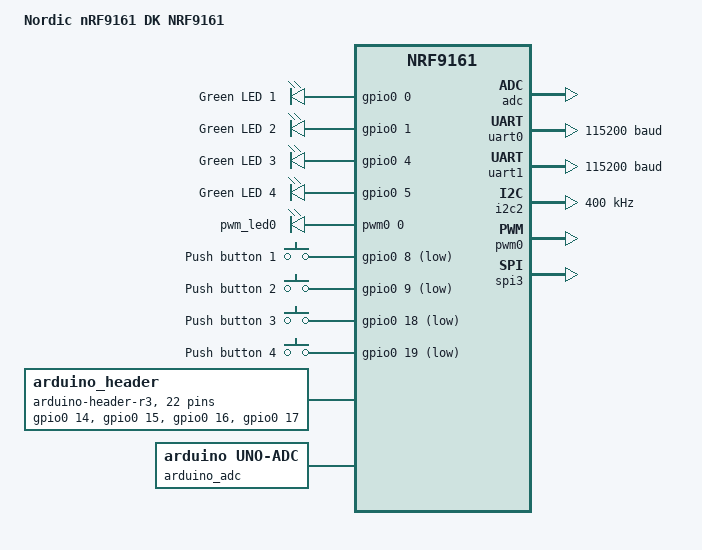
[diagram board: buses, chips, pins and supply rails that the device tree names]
/*
 * Copyright (c) 2023 Nordic Semiconductor ASA
 *
 * SPDX-License-Identifier: Apache-2.0
 */
#include "nrf9161dk_nrf9161_common-pinctrl.dtsi"
#include <zephyr/dt-bindings/input/input-event-codes.h>

/ {
	model = "Nordic nRF9161 DK NRF9161";
	compatible = "nordic,nrf9161-dk-nrf9161";

	chosen {
		zephyr,console = &uart0;
		zephyr,shell-uart = &uart0;
		zephyr,uart-mcumgr = &uart0;
	};

	leds {
		compatible = "gpio-leds";
		led0: led_0 {
			gpios = <&gpio0 0 GPIO_ACTIVE_HIGH>;
			label = "Green LED 1";
		};
		led1: led_1 {
			gpios = <&gpio0 1 GPIO_ACTIVE_HIGH>;
			label = "Green LED 2";
		};
		led2: led_2 {
			gpios = <&gpio0 4 GPIO_ACTIVE_HIGH>;
			label = "Green LED 3";
		};
		led3: led_3 {
			gpios = <&gpio0 5 GPIO_ACTIVE_HIGH>;
			label = "Green LED 4";
		};
	};

	pwmleds {
		compatible = "pwm-leds";
		pwm_led0: pwm_led_0 {
			pwms = <&pwm0 0 PWM_MSEC(20) PWM_POLARITY_NORMAL>;
		};
	};

	buttons {
		compatible = "gpio-keys";
		button0: button_0 {
			gpios = <&gpio0 8 (GPIO_PULL_UP | GPIO_ACTIVE_LOW)>;
			label = "Push button 1";
			zephyr,code = <INPUT_KEY_0>;
		};
		button1: button_1 {
			gpios = <&gpio0 9 (GPIO_PULL_UP | GPIO_ACTIVE_LOW)>;
			label = "Push button 2";
			zephyr,code = <INPUT_KEY_1>;
		};
		button2: button_2 {
			gpios = <&gpio0 18 (GPIO_PULL_UP | GPIO_ACTIVE_LOW)>;
			label = "Push button 3";
			zephyr,code = <INPUT_KEY_2>;
		};
		button3: button_3 {
			gpios = <&gpio0 19 (GPIO_PULL_UP | GPIO_ACTIVE_LOW)>;
			label = "Push button 4";
			zephyr,code = <INPUT_KEY_3>;
		};
	};

	nrf5340_reset: gpio-reset {
		compatible = "nordic,nrf9161dk-nrf5340-reset";
		status = "disabled";
		gpios = <&gpio0 21 GPIO_ACTIVE_LOW>;
	};

	arduino_header: connector {
		compatible = "arduino-header-r3";
		#gpio-cells = <2>;
		gpio-map-mask = <0xffffffff 0xffffffc0>;
		gpio-map-pass-thru = <0 0x3f>;
		gpio-map = <0 0 &gpio0 14 0>,	/* A0 */
			   <1 0 &gpio0 15 0>,	/* A1 */
			   <2 0 &gpio0 16 0>,	/* A2 */
			   <3 0 &gpio0 17 0>,	/* A3 */
			   <4 0 &gpio0 18 0>,	/* A4 */
			   <5 0 &gpio0 19 0>,	/* A5 */
			   <6 0 &gpio0 0 0>,	/* D0 */
			   <7 0 &gpio0 1 0>,	/* D1 */
			   <8 0 &gpio0 2 0>,	/* D2 */
			   <9 0 &gpio0 3 0>,	/* D3 */
			   <10 0 &gpio0 4 0>,	/* D4 */
			   <11 0 &gpio0 5 0>,	/* D5 */
			   <12 0 &gpio0 6 0>,	/* D6 */
			   <13 0 &gpio0 7 0>,	/* D7 */
			   <14 0 &gpio0 8 0>,	/* D8 */
			   <15 0 &gpio0 9 0>,	/* D9 */
			   <16 0 &gpio0 10 0>,	/* D10 */
			   <17 0 &gpio0 11 0>,	/* D11 */
			   <18 0 &gpio0 12 0>,	/* D12 */
			   <19 0 &gpio0 13 0>,	/* D13 */
			   <20 0 &gpio0 30 0>,	/* D14 */
			   <21 0 &gpio0 31 0>;	/* D15 */
	};

	arduino_adc: analog-connector {
		compatible = "arduino,uno-adc";
		#io-channel-cells = <1>;
		io-channel-map = <0 &adc 1>,	/* A0 = P0.14 = AIN1 */
				 <1 &adc 2>,	/* A1 = P0.15 = AIN2 */
				 <2 &adc 3>,	/* A2 = P0.16 = AIN3 */
				 <3 &adc 4>,	/* A3 = P0.17 = AIN4 */
				 <4 &adc 5>,	/* A4 = P0.18 = AIN5 */
				 <5 &adc 6>;	/* A5 = P0.19 = AIN6 */
	};

	/* These aliases are provided for compatibility with samples */
	aliases {
		led0 = &led0;
		led1 = &led1;
		led2 = &led2;
		led3 = &led3;
		pwm-led0 = &pwm_led0;
		sw0 = &button0;
		sw1 = &button1;
		sw2 = &button2;
		sw3 = &button3;
		bootloader-led0 = &led0;
		mcuboot-button0 = &button0;
		mcuboot-led0 = &led0;
		watchdog0 = &wdt0;
		spi-flash0 = &gd25wb256;
	};
};

&adc {
	status = "okay";
};

&gpiote {
	status = "okay";
};

&gpio0 {
	status = "okay";
};

&uart0 {
	status = "okay";
	current-speed = <115200>;
	pinctrl-0 = <&uart0_default>;
	pinctrl-1 = <&uart0_sleep>;
	pinctrl-names = "default", "sleep";
};

arduino_serial: &uart1 {
	status = "okay";
	current-speed = <115200>;
	pinctrl-0 = <&uart1_default>;
	pinctrl-1 = <&uart1_sleep>;
	pinctrl-names = "default", "sleep";
};

arduino_i2c: &i2c2 {
	compatible = "nordic,nrf-twim";
	status = "okay";
	pinctrl-0 = <&i2c2_default>;
	pinctrl-1 = <&i2c2_sleep>;
	pinctrl-names = "default", "sleep";
	clock-frequency = <I2C_BITRATE_FAST>;

	pcal6408a: pcal6408a@21 {
		compatible = "nxp,pcal6408a";
		status = "disabled";
		reg = <0x21>;
		gpio-controller;
		#gpio-cells = <2>;
		ngpios = <8>;
		int-gpios = <&gpio0 19 (GPIO_PULL_UP | GPIO_ACTIVE_LOW)>;
	};
};

&pwm0 {
	status = "okay";
	pinctrl-0 = <&pwm0_default>;
	pinctrl-1 = <&pwm0_sleep>;
	pinctrl-names = "default", "sleep";
};

arduino_spi: &spi3 {
	compatible = "nordic,nrf-spim";
	status = "okay";
	cs-gpios = <&arduino_header 16 GPIO_ACTIVE_LOW>, /* D10 */
		   <&gpio0 20 GPIO_ACTIVE_LOW>;
	pinctrl-0 = <&spi3_default>;
	pinctrl-1 = <&spi3_sleep>;
	pinctrl-names = "default", "sleep";

	gd25wb256: gd25wb256e3ir@1 {
		compatible = "jedec,spi-nor";
		status = "disabled";
		reg = <1>;
		spi-max-frequency = <8000000>;
		size = <268435456>;
		has-dpd;
		t-enter-dpd = <3000>;
		t-exit-dpd = <40000>;
		sfdp-bfp = [
			e5 20 f3 ff  ff ff ff 0f  44 eb 08 6b  08 3b 42 bb
			ee ff ff ff  ff ff 00 ff  ff ff 00 ff  0c 20 0f 52
			10 d8 00 ff  44 7a c9 fe  83 67 26 62  ec 82 18 44
			7a 75 7a 75  04 c4 d5 5c  00 06 74 00  08 50 00 01
			];
		jedec-id = [c8 65 19];
	};
};

&flash0 {
	partitions {
		compatible = "fixed-partitions";
		#address-cells = <1>;
		#size-cells = <1>;

		boot_partition: partition@0 {
			label = "mcuboot";
			reg = <0x00000000 0x10000>;
		};
		slot0_partition: partition@10000 {
			label = "image-0";
		};
		slot0_ns_partition: partition@50000 {
			label = "image-0-nonsecure";
		};
		slot1_partition: partition@80000 {
			label = "image-1";
		};
		slot1_ns_partition: partition@c0000 {
			label = "image-1-nonsecure";
		};
		scratch_partition: partition@f0000 {
			label = "image-scratch";
			reg = <0x000f0000 0xa000>;
		};
		storage_partition: partition@fa000 {
			label = "storage";
			reg = <0x000fa000 0x00006000>;
		};
	};
};

/ {

	reserved-memory {
		#address-cells = <1>;
		#size-cells = <1>;
		ranges;

		sram0_s: image_s@20000000 {
			/* Secure image memory */
		};

		sram0_modem: image_modem@20016000 {
			/* Modem (shared) memory */
		};

		sram0_ns: image_ns@20020000 {
			/* Non-Secure image memory */
		};
	};
};

/* Include partition configuration file */
#include "nrf9161dk_nrf9161_partition_conf.dtsi"
